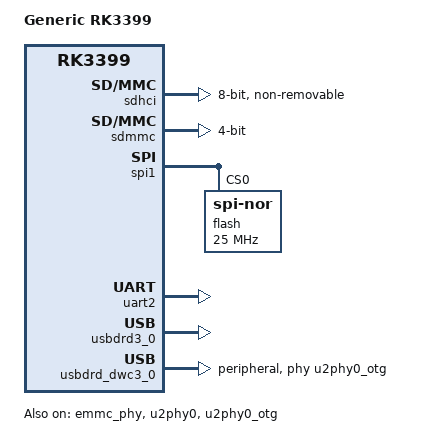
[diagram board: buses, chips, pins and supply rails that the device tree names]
// SPDX-License-Identifier: (GPL-2.0+ OR MIT)
/*
 * Minimal generic DT for RK3399 with eMMC, SD-card, SPI flash and USB OTG enabled
 */

/dts-v1/;
#include "rk3399.dtsi"

/ {
	model = "Generic RK3399";
	compatible = "rockchip,rk3399";

	aliases {
		mmc0 = &sdhci;
		mmc1 = &sdmmc;
	};

	chosen {
		stdout-path = "serial2:1500000n8";
	};
};

&emmc_phy {
	status = "okay";
};

&sdhci {
	bus-width = <8>;
	cap-mmc-highspeed;
	max-frequency = <150000000>;
	mmc-hs200-1_8v;
	mmc-ddr-1_8v;
	no-sd;
	no-sdio;
	non-removable;
	status = "okay";
};

&sdmmc {
	bus-width = <4>;
	cap-sd-highspeed;
	disable-wp;
	max-frequency = <150000000>;
	no-mmc;
	no-sdio;
	pinctrl-names = "default";
	pinctrl-0 = <&sdmmc_bus4 &sdmmc_clk &sdmmc_cmd &sdmmc_cd>;
	status = "okay";
};

&spi1 {
	status = "okay";

	flash@0 {
		compatible = "jedec,spi-nor";
		reg = <0>;
		spi-max-frequency = <25000000>;
	};
};

&u2phy0 {
	status = "okay";
};

&u2phy0_otg {
	status = "okay";
};

&uart2 {
	status = "okay";
};

&usbdrd3_0 {
	status = "okay";
};

&usbdrd_dwc3_0 {
	dr_mode = "peripheral";
	maximum-speed = "high-speed";
	phys = <&u2phy0_otg>;
	phy-names = "usb2-phy";
	status = "okay";
};
